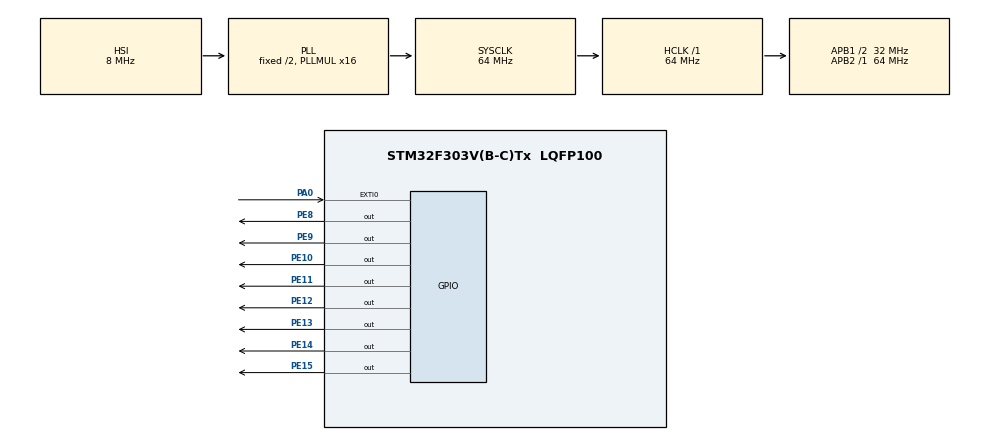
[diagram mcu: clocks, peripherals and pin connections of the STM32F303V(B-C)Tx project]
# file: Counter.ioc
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Mcu.Family=STM32F3
Mcu.Name=STM32F303V(B-C)Tx
Mcu.Package=LQFP100
NVIC.EXTI0_IRQn=true\:0\:0\:false\:false\:true\:true
NVIC.PriorityGroup=NVIC_PRIORITYGROUP_4
PA0.Signal=GPXTI0
PE10.Signal=GPIO_Output
PE11.Signal=GPIO_Output
PE12.Signal=GPIO_Output
PE13.Signal=GPIO_Output
PE14.Signal=GPIO_Output
PE15.Signal=GPIO_Output
PE8.Signal=GPIO_Output
PE9.Signal=GPIO_Output
ProjectManager.HeapSize=0x200
ProjectManager.StackSize=0x400
ProjectManager.TargetToolchain=SW4STM32
RCC.AHBFreq_Value=64000000
RCC.APB1CLKDivider=RCC_HCLK_DIV2
RCC.APB1Freq_Value=32000000
RCC.APB1TimFreq_Value=64000000
RCC.APB2Freq_Value=64000000
RCC.APB2TimFreq_Value=64000000
RCC.CortexFreq_Value=64000000
RCC.HCLKFreq_Value=64000000
RCC.HSE_VALUE=8000000
RCC.HSI_VALUE=8000000
RCC.LSE_VALUE=32768
RCC.PLLMUL=RCC_PLL_MUL16
RCC.SYSCLKFreq_VALUE=64000000
RCC.SYSCLKSourceVirtual=RCC_SYSCLKSOURCE_PLLCLK
RCC.USBFreq_Value=64000000
board=custom

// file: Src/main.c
/**
  ******************************************************************************
  * @file           : main.c
  * @brief          : Main program body
  ******************************************************************************
  ** This notice applies to any and all portions of this file
  * that are not between comment pairs USER CODE BEGIN and
  * USER CODE END. Other portions of this file, whether
  * inserted by the user or by software development tools
  * are owned by their respective copyright owners.
  *
  * COPYRIGHT(c) 2018 STMicroelectronics
  *
  * Redistribution and use in source and binary forms, with or without modification,
  * are permitted provided that the following conditions are met:
  *   1. Redistributions of source code must retain the above copyright notice,
  *      this list of conditions and the following disclaimer.
  *   2. Redistributions in binary form must reproduce the above copyright notice,
  *      this list of conditions and the following disclaimer in the documentation
  *      and/or other materials provided with the distribution.
  *   3. Neither the name of STMicroelectronics nor the names of its contributors
  *      may be used to endorse or promote products derived from this software
  *      without specific prior written permission.
  *
  * THIS SOFTWARE IS PROVIDED BY THE COPYRIGHT HOLDERS AND CONTRIBUTORS "AS IS"
  * AND ANY EXPRESS OR IMPLIED WARRANTIES, INCLUDING, BUT NOT LIMITED TO, THE
  * IMPLIED WARRANTIES OF MERCHANTABILITY AND FITNESS FOR A PARTICULAR PURPOSE ARE
  * DISCLAIMED. IN NO EVENT SHALL THE COPYRIGHT HOLDER OR CONTRIBUTORS BE LIABLE
  * FOR ANY DIRECT, INDIRECT, INCIDENTAL, SPECIAL, EXEMPLARY, OR CONSEQUENTIAL
  * DAMAGES (INCLUDING, BUT NOT LIMITED TO, PROCUREMENT OF SUBSTITUTE GOODS OR
  * SERVICES; LOSS OF USE, DATA, OR PROFITS; OR BUSINESS INTERRUPTION) HOWEVER
  * CAUSED AND ON ANY THEORY OF LIABILITY, WHETHER IN CONTRACT, STRICT LIABILITY,
  * OR TORT (INCLUDING NEGLIGENCE OR OTHERWISE) ARISING IN ANY WAY OUT OF THE USE
  * OF THIS SOFTWARE, EVEN IF ADVISED OF THE POSSIBILITY OF SUCH DAMAGE.
  *
  ******************************************************************************
  */
#include "main.h"
#include "stm32f3xx_hal.h"
#include "gpio.h"

/* USER CODE BEGIN PV */
/* Private variables ---------------------------------------------------------*/

/* USER CODE END PV */

void SystemClock_Config(void);

/* USER CODE BEGIN PFP */
/* Private function prototypes -----------------------------------------------*/
volatile int pressed = 0;
volatile int button_is_pressed = 0;
void HAL_GPIO_EXTI_Callback(uint16_t GPIO_Pin)
{
 if( GPIO_Pin == GPIO_PIN_0)
 {
  static uint32_t last_change_tick;
  if( HAL_GetTick() - last_change_tick < 50 )
  {
   return;
  }
  last_change_tick = HAL_GetTick();
  if(button_is_pressed)
  {
   button_is_pressed = 0;
   ++pressed;
  }else
  {
   button_is_pressed = 1;
  }
 }
}
/* USER CODE END PFP */

int main(void)
{

  /* MCU Configuration----------------------------------------------------------*/

  /* Reset of all peripherals, Initializes the Flash interface and the Systick. */
  HAL_Init();

  /* Configure the system clock */
  SystemClock_Config();

  /* Initialize all configured peripherals */
  MX_GPIO_Init();

  /* Infinite loop */
  /* USER CODE BEGIN WHILE */
  while (1)
  {
	  GPIOE->ODR &= ~(0xF << 8);
	  __disable_irq();
	  GPIOE->ODR |= (pressed & 0xF) << 8;
	  __enable_irq();
  /* USER CODE END WHILE */

  }

}

void SystemClock_Config(void)
{

  RCC_OscInitTypeDef RCC_OscInitStruct;
  RCC_ClkInitTypeDef RCC_ClkInitStruct;

    /**Initializes the CPU, AHB and APB busses clocks
    */
  RCC_OscInitStruct.OscillatorType = RCC_OSCILLATORTYPE_HSI;
  RCC_OscInitStruct.HSIState = RCC_HSI_ON;
  RCC_OscInitStruct.HSICalibrationValue = 16;
  RCC_OscInitStruct.PLL.PLLState = RCC_PLL_ON;
  RCC_OscInitStruct.PLL.PLLSource = RCC_PLLSOURCE_HSI;
  RCC_OscInitStruct.PLL.PLLMUL = RCC_PLL_MUL16;
  if (HAL_RCC_OscConfig(&RCC_OscInitStruct) != HAL_OK)
  {
    _Error_Handler(__FILE__, __LINE__);
  }

    /**Initializes the CPU, AHB and APB busses clocks
    */
  RCC_ClkInitStruct.ClockType = RCC_CLOCKTYPE_HCLK|RCC_CLOCKTYPE_SYSCLK
                              |RCC_CLOCKTYPE_PCLK1|RCC_CLOCKTYPE_PCLK2;
  RCC_ClkInitStruct.SYSCLKSource = RCC_SYSCLKSOURCE_PLLCLK;
  RCC_ClkInitStruct.AHBCLKDivider = RCC_SYSCLK_DIV1;
  RCC_ClkInitStruct.APB1CLKDivider = RCC_HCLK_DIV2;
  RCC_ClkInitStruct.APB2CLKDivider = RCC_HCLK_DIV1;

  if (HAL_RCC_ClockConfig(&RCC_ClkInitStruct, FLASH_LATENCY_2) != HAL_OK)
  {
    _Error_Handler(__FILE__, __LINE__);
  }

    /**Configure the Systick interrupt time
    */
  HAL_SYSTICK_Config(HAL_RCC_GetHCLKFreq()/1000);

    /**Configure the Systick
    */
  HAL_SYSTICK_CLKSourceConfig(SYSTICK_CLKSOURCE_HCLK);

  /* SysTick_IRQn interrupt configuration */
  HAL_NVIC_SetPriority(SysTick_IRQn, 0, 0);
}

void _Error_Handler(char *file, int line)
{
  while(1)
  {
  }
}

/************************ (C) COPYRIGHT STMicroelectronics *****END OF FILE****/
